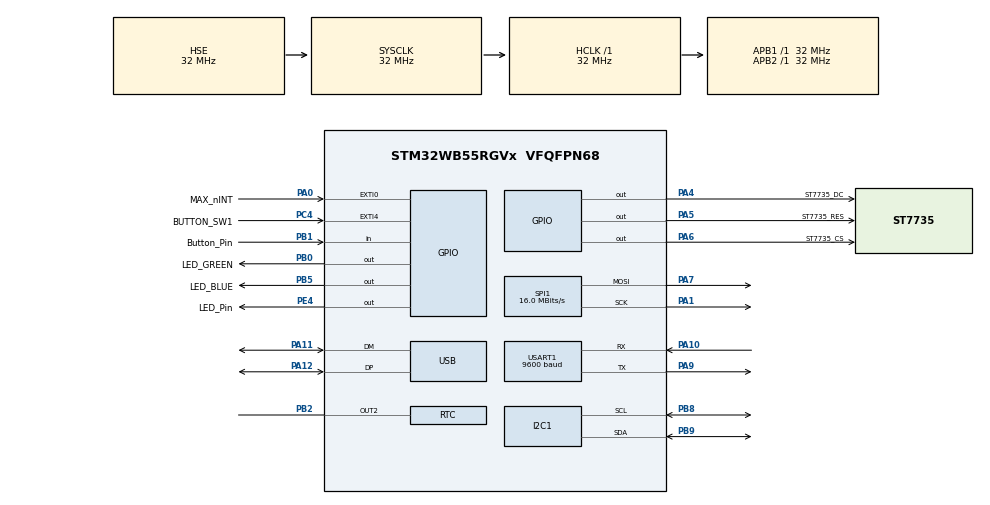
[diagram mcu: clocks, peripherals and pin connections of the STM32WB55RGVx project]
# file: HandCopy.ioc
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I2C1.Timing=0x00707CBB
Mcu.Family=STM32WB
Mcu.Name=STM32WB55RGVx
Mcu.Package=VFQFPN68
NVIC.EXTI0_IRQn=true\:0\:0\:false\:false\:true\:true\:true
NVIC.HSEM_IRQn=true\:0\:0\:false\:false\:true\:false\:true
NVIC.IPCC_C1_RX_IRQn=true\:0\:0\:false\:false\:true\:true\:true
NVIC.IPCC_C1_TX_IRQn=true\:0\:0\:false\:false\:true\:true\:true
NVIC.PriorityGroup=NVIC_PRIORITYGROUP_4
NVIC.RTC_WKUP_IRQn=true\:0\:0\:false\:false\:true\:true\:true
OSC_IN.Mode=HSE-External-Oscillator
OSC_IN.Signal=RCC_OSC_IN
OSC_OUT.Mode=HSE-External-Oscillator
OSC_OUT.Signal=RCC_OSC_OUT
PA0.GPIO_Label=MAX_nINT
PA0.GPIO_ModeDefaultEXTI=GPIO_MODE_IT_FALLING
PA0.GPIO_PuPd=GPIO_PULLUP
PA0.Signal=GPXTI0
PA1.Mode=TX_Only_Simplex_Unidirect_Master
PA1.Signal=SPI1_SCK
PA10.Mode=Asynchronous
PA10.Signal=USART1_RX
PA11.Mode=Device
PA11.Signal=USB_DM
PA12.Mode=Device
PA12.Signal=USB_DP
PA13.Mode=Serial_Wire
PA13.Signal=SYS_JTMS-SWDIO
PA14.Mode=Serial_Wire
PA14.Signal=SYS_JTCK-SWCLK
PA4.GPIO_Label=ST7735_DC
PA4.Signal=GPIO_Output
PA5.GPIO_Label=ST7735_RES
PA5.Signal=GPIO_Output
PA6.GPIO_Label=ST7735_CS
PA6.PinState=GPIO_PIN_SET
PA6.Signal=GPIO_Output
PA7.Mode=TX_Only_Simplex_Unidirect_Master
PA7.Signal=SPI1_MOSI
PA9.Mode=Asynchronous
PA9.Signal=USART1_TX
PB0.GPIO_Label=LED_GREEN
PB0.GPIO_Speed=GPIO_SPEED_FREQ_VERY_HIGH
PB0.PinState=GPIO_PIN_RESET
PB0.Signal=GPIO_Output
PB1.GPIO_Label=Button_Pin
PB1.Signal=GPIO_Input
PB2.Mode=WakeUpAF1
PB2.Signal=RTC_OUT2
PB5.GPIO_Label=LED_BLUE
PB5.GPIO_Speed=GPIO_SPEED_FREQ_VERY_HIGH
PB5.Signal=GPIO_Output
PB8.Mode=I2C
PB8.Signal=I2C1_SCL
PB9.Mode=I2C
PB9.Signal=I2C1_SDA
PC14-OSC32_IN.Mode=LSE-External-Oscillator
PC14-OSC32_IN.Signal=RCC_OSC32_IN
PC15-OSC32_OUT.Mode=LSE-External-Oscillator
PC15-OSC32_OUT.Signal=RCC_OSC32_OUT
PC4.GPIO_Label=BUTTON_SW1
PC4.GPIO_ModeDefaultEXTI=GPIO_MODE_IT_FALLING
PC4.GPIO_PuPd=GPIO_PULLUP
PC4.Signal=GPXTI4
PE4.GPIO_Label=LED_Pin
PE4.GPIO_Speed=GPIO_SPEED_FREQ_VERY_HIGH
PE4.Signal=GPIO_Output
ProjectManager.HeapSize=0x200
ProjectManager.StackSize=0x400
ProjectManager.TargetToolchain=SW4STM32
RCC.ADCFreq_Value=48000000
RCC.AHBFreq_Value=32000000
RCC.APB1Freq_Value=32000000
RCC.APB1TimFreq_Value=32000000
RCC.APB2Freq_Value=32000000
RCC.APB2TimFreq_Value=32000000
RCC.APB3Freq_Value=16000000
RCC.CortexFreq_Value=32000000
RCC.HCLKFreq_Value=32000000
RCC.HSE_VALUE=32000000
RCC.HSI48_VALUE=48000000
RCC.HSI_VALUE=16000000
RCC.PLLSAI1N=24
RCC.RFWKPClockSelection=RCC_RFWKPCLKSOURCE_LSE
RCC.RTCClockSelection=RCC_RTCCLKSOURCE_LSE
RCC.SYSCLKFreq_VALUE=32000000
RCC.SYSCLKSource=RCC_SYSCLKSOURCE_HSE
RCC.USBFreq_Value=48000000
RCC.VCOOutputFreq_Value=32000000
RF1.Mode=RF1_Activate
RF1.Signal=RF_RF1
SPI1.CalculateBaudRate=16.0 MBits/s
SPI1.DataSize=SPI_DATASIZE_8BIT
SPI1.Direction=SPI_DIRECTION_2LINES
SPI1.Mode=SPI_MODE_MASTER
SPI1.VirtualType=VM_MASTER
STM32_WPAN.AD_TYPE_COMPLETE_LOCAL_NAME=98_NODE
STM32_WPAN.AD_TYPE_COMPLETE_LOCAL_NAME_LENGTH=8
STM32_WPAN.CFG_FAST_CONN_ADV_INTERVAL_MAX_HEXA=0xa0
STM32_WPAN.CFG_LP_CONN_ADV_INTERVAL_MAX_HEXA=0xfa0
STM32_WPAN.CUSTOM_TEMPLATE=Enabled
STM32_WPAN.INCLUDE_AD_TYPE_COMPLETE_LOCAL_NAME=1
STM32_WPAN.LOCAL_NAME=98-NODE
STM32_WPAN.LOCAL_NAME_FORMATTED=,'9','8','-','N','O','D','E'
STM32_WPAN.NUMBER_OF_SERVICES=1
STM32_WPAN.PAIRING_PARAMETERS=OFF
STM32_WPAN.SERVICE1_CHAR1_LONG_NAME=BleNotify
STM32_WPAN.SERVICE1_CHAR1_SHORT_NAME=BN
STM32_WPAN.SERVICE1_LONG_NAME=BleWrite
STM32_WPAN.SERVICE1_SHORT_NAME=BW
USART1.BaudRate=9600
USART1.VirtualMode-Asynchronous=VM_ASYNC
USART1.WordLength=WORDLENGTH_8B
VP_HSEM_VS_HSEM.Mode=HSEM_Activate
VP_IPCC_VS_IPCC.Mode=IPCC_Activate
VP_RTC_VS_RTC_Activate.Mode=RTC_Enabled
VP_SEQUENCER_VS_SEQUENCER.Mode=SEQUENCER_Enabled
VP_STM32_WPAN_VS_BLE_HOST.Mode=STM32_WPAN_Enabled
VP_TINY_LPM_VS_TINY_LPM.Mode=TINY_LPM_Enabled
board=custom

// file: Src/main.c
/* USER CODE BEGIN Header */
/**
  ******************************************************************************
  * @file           : main.c
  * @brief          : Main program body
  ******************************************************************************
  * @attention
  *
  * <h2><center>&copy; Copyright (c) 2021 STMicroelectronics.
  * All rights reserved.</center></h2>
  *
  * This software component is licensed by ST under Ultimate Liberty license
  * SLA0044, the "License"; You may not use this file except in compliance with
  * the License. You may obtain a copy of the License at:
  *                             www.st.com/SLA0044
  *
  ******************************************************************************
  */
/* USER CODE END Header */
#include "main.h"

/* USER CODE BEGIN Includes */
#include "app_entry.h"
#include "MAX30102.h"
#include "stm32_seq.h"
#include "st7735.h"
#include "fonts.h"
#include "home_data.h"
#include "second_data.h"
#include <string.h>
#include <stdio.h>
#include <zero_data.h>
/* USER CODE END Includes */

I2C_HandleTypeDef hi2c1;

IPCC_HandleTypeDef hipcc;

RTC_HandleTypeDef hrtc;

SPI_HandleTypeDef hspi1;

UART_HandleTypeDef huart1;

PCD_HandleTypeDef hpcd_USB_FS;

/* USER CODE BEGIN PV */
uint8_t r =  0 ;

/* USER CODE END PV */

void SystemClock_Config(void);
static void MX_GPIO_Init(void);
static void MX_USART1_UART_Init(void);
static void MX_RF_Init(void);
static void MX_RTC_Init(void);
static void MX_I2C1_Init(void);
static void MX_USB_PCD_Init(void);
static void MX_IPCC_Init(void);
static void MX_SPI1_Init(void);

/* USER CODE BEGIN 0 */
uint32_t heartRate;
/* USER CODE END 0 */

int main(void)
{

  /* MCU Configuration--------------------------------------------------------*/

  /* Reset of all peripherals, Initializes the Flash interface and the Systick. */
  HAL_Init();

  /* Configure the system clock */
  SystemClock_Config();

  /* IPCC initialisation */
   MX_IPCC_Init();

  /* Initialize all configured peripherals */
  MX_GPIO_Init();
  MX_USART1_UART_Init();
  MX_RF_Init();
  MX_RTC_Init();
  MX_I2C1_Init();
  MX_USB_PCD_Init();
  MX_SPI1_Init();
  /* USER CODE BEGIN 2 */
  ST7735_Init ();
  ST7735_SetRotation(3);
  ST7735_FillScreen (ST7735_CustomBG);
  ST7735_DrawString ( 50 , 0 , "SPO2" , Font_16x26, ST7735_WHITE, ST7735_CustomBG);
  ST7735_DrawString ( 35 , 25 , "Reader" , Font_16x26, ST7735_WHITE, ST7735_CustomBG);
  ST7735_DrawString ( 75 , 55, "by" , Font_7x10, ST7735_WHITE, ST7735_CustomBG);
  ST7735_DrawString ( 15 , 70 , "Lieselotte en Glenn" , Font_7x10, ST7735_WHITE, ST7735_CustomBG);
  UTIL_SEQ_Init();
  StartSensor();
  BeginBerekening();
  InterruptsSwitch();
  /* USER CODE END 2 */

  /* Init code for STM32_WPAN */
  APPE_Init();
  /* Infinite loop */
  while (1)
  {

    /* USER CODE BEGIN 3 */

	  UTIL_SEQ_Run( ~0);
  }
  /* USER CODE END 3 */
}

void SystemClock_Config(void)
{
  RCC_OscInitTypeDef RCC_OscInitStruct = {0};
  RCC_ClkInitTypeDef RCC_ClkInitStruct = {0};
  RCC_PeriphCLKInitTypeDef PeriphClkInitStruct = {0};

  /** Macro to configure the PLL multiplication factor
  */
  __HAL_RCC_PLL_PLLM_CONFIG(RCC_PLLM_DIV1);
  /** Macro to configure the PLL clock source
  */
  __HAL_RCC_PLL_PLLSOURCE_CONFIG(RCC_PLLSOURCE_MSI);
  /** Configure LSE Drive Capability
  */
  HAL_PWR_EnableBkUpAccess();
  __HAL_RCC_LSEDRIVE_CONFIG(RCC_LSEDRIVE_LOW);
  /** Configure the main internal regulator output voltage
  */
  __HAL_PWR_VOLTAGESCALING_CONFIG(PWR_REGULATOR_VOLTAGE_SCALE1);
  /** Initializes the RCC Oscillators according to the specified parameters
  * in the RCC_OscInitTypeDef structure.
  */
  RCC_OscInitStruct.OscillatorType = RCC_OSCILLATORTYPE_HSI|RCC_OSCILLATORTYPE_HSE
                              |RCC_OSCILLATORTYPE_LSE|RCC_OSCILLATORTYPE_MSI;
  RCC_OscInitStruct.HSEState = RCC_HSE_ON;
  RCC_OscInitStruct.LSEState = RCC_LSE_ON;
  RCC_OscInitStruct.HSIState = RCC_HSI_ON;
  RCC_OscInitStruct.MSIState = RCC_MSI_ON;
  RCC_OscInitStruct.HSICalibrationValue = RCC_HSICALIBRATION_DEFAULT;
  RCC_OscInitStruct.MSICalibrationValue = RCC_MSICALIBRATION_DEFAULT;
  RCC_OscInitStruct.MSIClockRange = RCC_MSIRANGE_6;
  RCC_OscInitStruct.PLL.PLLState = RCC_PLL_NONE;
  if (HAL_RCC_OscConfig(&RCC_OscInitStruct) != HAL_OK)
  {
    Error_Handler();
  }
  /** Configure the SYSCLKSource, HCLK, PCLK1 and PCLK2 clocks dividers
  */
  RCC_ClkInitStruct.ClockType = RCC_CLOCKTYPE_HCLK4|RCC_CLOCKTYPE_HCLK2
                              |RCC_CLOCKTYPE_HCLK|RCC_CLOCKTYPE_SYSCLK
                              |RCC_CLOCKTYPE_PCLK1|RCC_CLOCKTYPE_PCLK2;
  RCC_ClkInitStruct.SYSCLKSource = RCC_SYSCLKSOURCE_HSE;
  RCC_ClkInitStruct.AHBCLKDivider = RCC_SYSCLK_DIV1;
  RCC_ClkInitStruct.APB1CLKDivider = RCC_HCLK_DIV1;
  RCC_ClkInitStruct.APB2CLKDivider = RCC_HCLK_DIV1;
  RCC_ClkInitStruct.AHBCLK2Divider = RCC_SYSCLK_DIV1;
  RCC_ClkInitStruct.AHBCLK4Divider = RCC_SYSCLK_DIV1;

  if (HAL_RCC_ClockConfig(&RCC_ClkInitStruct, FLASH_LATENCY_1) != HAL_OK)
  {
    Error_Handler();
  }
  /** Initializes the peripherals clocks
  */
  PeriphClkInitStruct.PeriphClockSelection = RCC_PERIPHCLK_SMPS|RCC_PERIPHCLK_RFWAKEUP
                              |RCC_PERIPHCLK_RTC|RCC_PERIPHCLK_USART1
                              |RCC_PERIPHCLK_I2C1|RCC_PERIPHCLK_USB;
  PeriphClkInitStruct.PLLSAI1.PLLN = 24;
  PeriphClkInitStruct.PLLSAI1.PLLP = RCC_PLLP_DIV2;
  PeriphClkInitStruct.PLLSAI1.PLLQ = RCC_PLLQ_DIV2;
  PeriphClkInitStruct.PLLSAI1.PLLR = RCC_PLLR_DIV2;
  PeriphClkInitStruct.PLLSAI1.PLLSAI1ClockOut = RCC_PLLSAI1_USBCLK;
  PeriphClkInitStruct.Usart1ClockSelection = RCC_USART1CLKSOURCE_PCLK2;
  PeriphClkInitStruct.I2c1ClockSelection = RCC_I2C1CLKSOURCE_PCLK1;
  PeriphClkInitStruct.UsbClockSelection = RCC_USBCLKSOURCE_PLLSAI1;
  PeriphClkInitStruct.RTCClockSelection = RCC_RTCCLKSOURCE_LSE;
  PeriphClkInitStruct.RFWakeUpClockSelection = RCC_RFWKPCLKSOURCE_LSE;
  PeriphClkInitStruct.SmpsClockSelection = RCC_SMPSCLKSOURCE_HSI;
  PeriphClkInitStruct.SmpsDivSelection = RCC_SMPSCLKDIV_RANGE1;
  if (HAL_RCCEx_PeriphCLKConfig(&PeriphClkInitStruct) != HAL_OK)
  {
    Error_Handler();
  }
  /** Enable MSI Auto calibration
  */
  HAL_RCCEx_EnableMSIPLLMode();
}

static void MX_I2C1_Init(void)
{

  hi2c1.Instance = I2C1;
  hi2c1.Init.Timing = 0x00707CBB;
  hi2c1.Init.OwnAddress1 = 0;
  hi2c1.Init.AddressingMode = I2C_ADDRESSINGMODE_7BIT;
  hi2c1.Init.DualAddressMode = I2C_DUALADDRESS_DISABLE;
  hi2c1.Init.OwnAddress2 = 0;
  hi2c1.Init.OwnAddress2Masks = I2C_OA2_NOMASK;
  hi2c1.Init.GeneralCallMode = I2C_GENERALCALL_DISABLE;
  hi2c1.Init.NoStretchMode = I2C_NOSTRETCH_DISABLE;
  if (HAL_I2C_Init(&hi2c1) != HAL_OK)
  {
    Error_Handler();
  }
  /** Configure Analogue filter
  */
  if (HAL_I2CEx_ConfigAnalogFilter(&hi2c1, I2C_ANALOGFILTER_ENABLE) != HAL_OK)
  {
    Error_Handler();
  }
  /** Configure Digital filter
  */
  if (HAL_I2CEx_ConfigDigitalFilter(&hi2c1, 0) != HAL_OK)
  {
    Error_Handler();
  }

}

static void MX_IPCC_Init(void)
{

  hipcc.Instance = IPCC;
  if (HAL_IPCC_Init(&hipcc) != HAL_OK)
  {
    Error_Handler();
  }

}

static void MX_RF_Init(void)
{

}

static void MX_RTC_Init(void)
{

  /** Initialize RTC Only
  */
  hrtc.Instance = RTC;
  hrtc.Init.HourFormat = RTC_HOURFORMAT_24;
  hrtc.Init.AsynchPrediv = CFG_RTC_ASYNCH_PRESCALER;
  hrtc.Init.SynchPrediv = CFG_RTC_SYNCH_PRESCALER;
  hrtc.Init.OutPut = RTC_OUTPUT_WAKEUP;
  hrtc.Init.OutPutPolarity = RTC_OUTPUT_POLARITY_HIGH;
  hrtc.Init.OutPutType = RTC_OUTPUT_TYPE_OPENDRAIN;
  hrtc.Init.OutPutRemap = RTC_OUTPUT_REMAP_POS1;
  if (HAL_RTC_Init(&hrtc) != HAL_OK)
  {
    Error_Handler();
  }
  /** Enable the WakeUp
  */
  if (HAL_RTCEx_SetWakeUpTimer_IT(&hrtc, 0, RTC_WAKEUPCLOCK_RTCCLK_DIV16) != HAL_OK)
  {
    Error_Handler();
  }

}

static void MX_SPI1_Init(void)
{

  /* SPI1 parameter configuration*/
  hspi1.Instance = SPI1;
  hspi1.Init.Mode = SPI_MODE_MASTER;
  hspi1.Init.Direction = SPI_DIRECTION_2LINES;
  hspi1.Init.DataSize = SPI_DATASIZE_8BIT;
  hspi1.Init.CLKPolarity = SPI_POLARITY_LOW;
  hspi1.Init.CLKPhase = SPI_PHASE_1EDGE;
  hspi1.Init.NSS = SPI_NSS_SOFT;
  hspi1.Init.BaudRatePrescaler = SPI_BAUDRATEPRESCALER_2;
  hspi1.Init.FirstBit = SPI_FIRSTBIT_MSB;
  hspi1.Init.TIMode = SPI_TIMODE_DISABLE;
  hspi1.Init.CRCCalculation = SPI_CRCCALCULATION_DISABLE;
  hspi1.Init.CRCPolynomial = 7;
  hspi1.Init.CRCLength = SPI_CRC_LENGTH_DATASIZE;
  hspi1.Init.NSSPMode = SPI_NSS_PULSE_ENABLE;
  if (HAL_SPI_Init(&hspi1) != HAL_OK)
  {
    Error_Handler();
  }

}

static void MX_USART1_UART_Init(void)
{

  huart1.Instance = USART1;
  huart1.Init.BaudRate = 9600;
  huart1.Init.WordLength = UART_WORDLENGTH_8B;
  huart1.Init.StopBits = UART_STOPBITS_1;
  huart1.Init.Parity = UART_PARITY_NONE;
  huart1.Init.Mode = UART_MODE_TX_RX;
  huart1.Init.HwFlowCtl = UART_HWCONTROL_NONE;
  huart1.Init.OverSampling = UART_OVERSAMPLING_16;
  huart1.Init.OneBitSampling = UART_ONE_BIT_SAMPLE_DISABLE;
  huart1.Init.ClockPrescaler = UART_PRESCALER_DIV1;
  huart1.AdvancedInit.AdvFeatureInit = UART_ADVFEATURE_NO_INIT;
  if (HAL_UART_Init(&huart1) != HAL_OK)
  {
    Error_Handler();
  }
  if (HAL_UARTEx_SetTxFifoThreshold(&huart1, UART_TXFIFO_THRESHOLD_1_8) != HAL_OK)
  {
    Error_Handler();
  }
  if (HAL_UARTEx_SetRxFifoThreshold(&huart1, UART_RXFIFO_THRESHOLD_1_8) != HAL_OK)
  {
    Error_Handler();
  }
  if (HAL_UARTEx_DisableFifoMode(&huart1) != HAL_OK)
  {
    Error_Handler();
  }

}

static void MX_USB_PCD_Init(void)
{

  hpcd_USB_FS.Instance = USB;
  hpcd_USB_FS.Init.dev_endpoints = 8;
  hpcd_USB_FS.Init.speed = PCD_SPEED_FULL;
  hpcd_USB_FS.Init.phy_itface = PCD_PHY_EMBEDDED;
  hpcd_USB_FS.Init.Sof_enable = DISABLE;
  hpcd_USB_FS.Init.low_power_enable = DISABLE;
  hpcd_USB_FS.Init.lpm_enable = DISABLE;
  hpcd_USB_FS.Init.battery_charging_enable = DISABLE;
  if (HAL_PCD_Init(&hpcd_USB_FS) != HAL_OK)
  {
    Error_Handler();
  }

}

static void MX_GPIO_Init(void)
{
  GPIO_InitTypeDef GPIO_InitStruct = {0};

  /* GPIO Ports Clock Enable */
  __HAL_RCC_GPIOC_CLK_ENABLE();
  __HAL_RCC_GPIOB_CLK_ENABLE();
  __HAL_RCC_GPIOA_CLK_ENABLE();
  __HAL_RCC_GPIOE_CLK_ENABLE();

  /*Configure GPIO pin Output Level */
  HAL_GPIO_WritePin(GPIOA, ST7735_DC_Pin|ST7735_RES_Pin, GPIO_PIN_RESET);

  /*Configure GPIO pin Output Level */
  HAL_GPIO_WritePin(ST7735_CS_GPIO_Port, ST7735_CS_Pin, GPIO_PIN_SET);

  /*Configure GPIO pin Output Level */
  HAL_GPIO_WritePin(GPIOB, LED_GREEN_Pin|LED_BLUE_Pin, GPIO_PIN_RESET);

  /*Configure GPIO pin Output Level */
  HAL_GPIO_WritePin(LED_Pin_GPIO_Port, LED_Pin_Pin, GPIO_PIN_RESET);

  /*Configure GPIO pin : MAX_nINT_Pin */
  GPIO_InitStruct.Pin = MAX_nINT_Pin;
  GPIO_InitStruct.Mode = GPIO_MODE_IT_FALLING;
  GPIO_InitStruct.Pull = GPIO_PULLUP;
  HAL_GPIO_Init(MAX_nINT_GPIO_Port, &GPIO_InitStruct);

  /*Configure GPIO pins : ST7735_DC_Pin ST7735_RES_Pin ST7735_CS_Pin */
  GPIO_InitStruct.Pin = ST7735_DC_Pin|ST7735_RES_Pin|ST7735_CS_Pin;
  GPIO_InitStruct.Mode = GPIO_MODE_OUTPUT_PP;
  GPIO_InitStruct.Pull = GPIO_NOPULL;
  GPIO_InitStruct.Speed = GPIO_SPEED_FREQ_LOW;
  HAL_GPIO_Init(GPIOA, &GPIO_InitStruct);

  /*Configure GPIO pin : BUTTON_SW1_Pin */
  GPIO_InitStruct.Pin = BUTTON_SW1_Pin;
  GPIO_InitStruct.Mode = GPIO_MODE_IT_FALLING;
  GPIO_InitStruct.Pull = GPIO_PULLUP;
  HAL_GPIO_Init(BUTTON_SW1_GPIO_Port, &GPIO_InitStruct);

  /*Configure GPIO pins : LED_GREEN_Pin LED_BLUE_Pin */
  GPIO_InitStruct.Pin = LED_GREEN_Pin|LED_BLUE_Pin;
  GPIO_InitStruct.Mode = GPIO_MODE_OUTPUT_PP;
  GPIO_InitStruct.Pull = GPIO_NOPULL;
  GPIO_InitStruct.Speed = GPIO_SPEED_FREQ_VERY_HIGH;
  HAL_GPIO_Init(GPIOB, &GPIO_InitStruct);

  /*Configure GPIO pin : Button_Pin_Pin */
  GPIO_InitStruct.Pin = Button_Pin_Pin;
  GPIO_InitStruct.Mode = GPIO_MODE_INPUT;
  GPIO_InitStruct.Pull = GPIO_NOPULL;
  HAL_GPIO_Init(Button_Pin_GPIO_Port, &GPIO_InitStruct);

  /*Configure GPIO pin : LED_Pin_Pin */
  GPIO_InitStruct.Pin = LED_Pin_Pin;
  GPIO_InitStruct.Mode = GPIO_MODE_OUTPUT_PP;
  GPIO_InitStruct.Pull = GPIO_NOPULL;
  GPIO_InitStruct.Speed = GPIO_SPEED_FREQ_VERY_HIGH;
  HAL_GPIO_Init(LED_Pin_GPIO_Port, &GPIO_InitStruct);

  /* EXTI interrupt init*/
  HAL_NVIC_SetPriority(EXTI0_IRQn, 0, 0);
  HAL_NVIC_EnableIRQ(EXTI0_IRQn);

}

/* USER CODE BEGIN 4 */
	void HAL_GPIO_EXTI_Callback(uint16_t pinINter)
	{
   // interrupt routine voor MAX
		if (pinINter == MAX_nINT_Pin )
		{
			// Hier functie oproepen met SEQ
			InterruptsSwitch();
		}
	}
/* USER CODE END 4 */

void Error_Handler(void)
{
  __disable_irq();
  while (1)
  {
  }
}

/************************ (C) COPYRIGHT STMicroelectronics *****END OF FILE****/
